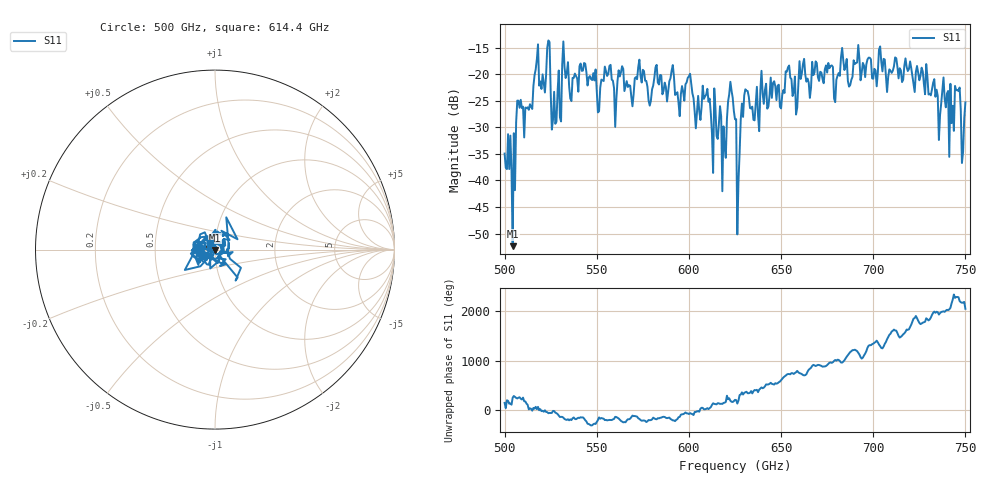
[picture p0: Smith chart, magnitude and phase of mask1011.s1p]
!Created with skrf (http://scikit-rf.org).
# GHz S MA R 50.0
!freq magS11 angS11
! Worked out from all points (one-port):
!   401 points, 500 GHz to 750 GHz, reference 50 ohm
!   lowest |S11| = -52.4 dB at 504.4 GHz (marker M1), VSWR 1.00, Z = 49.9 - j0.233 ohm
!   |S11| at or under -10 dB: start of sweep to end of sweep
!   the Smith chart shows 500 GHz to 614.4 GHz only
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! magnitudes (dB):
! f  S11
! 500 GHz  -34.9
! 504.4 GHz  -52.4
! 507.5 GHz  -25.0
! 513.8 GHz  -25.7
! 516.9 GHz  -19.1
! 520.6 GHz  -20.1
! 523.8 GHz  -13.7
! 526.9 GHz  -23.3
! 531.2 GHz  -18.2
! 556.2 GHz  -19.9
! 560 GHz  -29.9
! 562.5 GHz  -20.4
! 578.8 GHz  -25.9
! 590.6 GHz  -19.3
! 593.8 GHz  -23.4
! 608.8 GHz  -24.2
! 619.4 GHz  -33.8
! 622.5 GHz  -21.4
! 625 GHz  -28.5
! 627.5 GHz  -34.9
! 631.2 GHz  -23.1
! 656.2 GHz  -24.1
! 680 GHz  -21.0
! 683.8 GHz  -17.4
! 687.5 GHz  -22.1
! 690.6 GHz  -17.9
! 718.8 GHz  -19.4
! 750 GHz  -25.3
